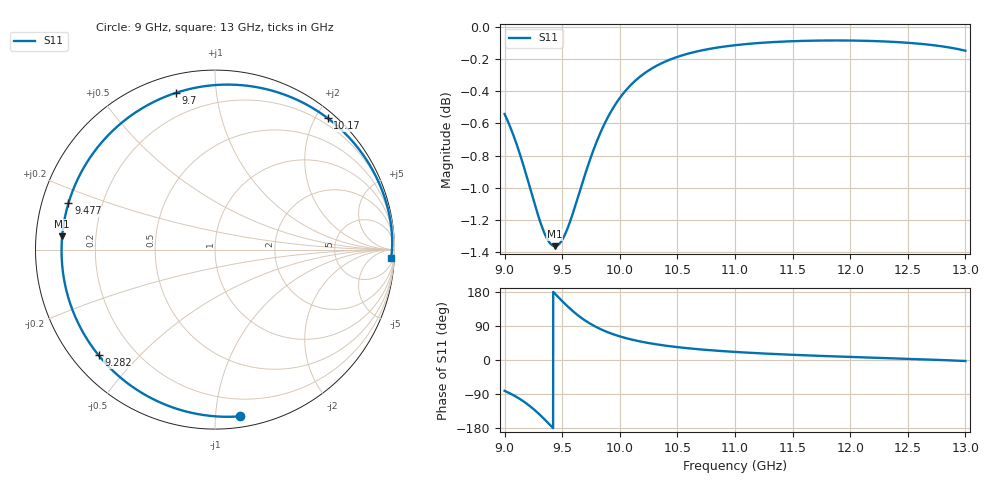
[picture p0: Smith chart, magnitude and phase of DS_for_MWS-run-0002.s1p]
! TOUCHSTONE file generated by CST DESIGN STUDIO
! Date and time: Wed Feb  5 13:34:18 2025
! Project name: C:\Work\MatlabApps\UnitCellOptimizationMatlab\CST\unitcell.cst
! Tree item: Tasks\Sweep1\SPara1\S-Parameters
! Header version: 2024
! Port assignment regex: !\s*Touchstone port\s*([0-9]+)\s*=\s*(CST MWS port|CST DES external port|CST DES block port)\s*(.+)\s* \(\"(.*)\"\)(\s*mode\s*([0-9]+))?.*
! Touchstone port assignment:
! Touchstone port 1 = CST DES external port 1 ("")
# GHz S MA R 50
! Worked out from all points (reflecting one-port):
!   4001 points, 9 GHz to 13 GHz, reference 50 ohm
!   lowest |S11| = -1.4 dB at 9.437 GHz (marker M1), VSWR 12.77, Z = 3.92 + j2.14 ohm
!   phase of S11 starts at -81 deg and turns -281 deg over the sweep
!   S11 on the Smith chart (normalised r, x): 9 GHz: 0.07, -1.16; 9.282 GHz: 0.08, -0.38; 9.477 GHz: 0.08, +0.15; 9.7 GHz: 0.08, +0.78; 10.17 GHz: 0.10, +2.17; 13 GHz: 14, -38
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9  0.9395 -81.4
9.085  0.9235 -94.3
9.156  0.9074 -107.5
9.22  0.8913 -121.8
9.282  0.8759 -137.8
9.325  0.8665 -150.1
9.364  0.86 -161.9
9.401  0.8561 -173.5
9.437  0.8548 175.1
9.477  0.8564 162.4
9.5  0.8587 155.3
9.551  0.8666 140.3
9.599  0.8766 127.3
9.648  0.8879 115.3
9.7  0.9001 104.0
9.767  0.9147 91.6
9.847  0.9296 79.5
9.921  0.9408 70.4
10  0.9503 62.3
10.17  0.9645 49.4
10.32  0.9725 41.2
10.5  0.9786 34.0
10.723  0.9834 27.3
11  0.9868 21.3
11.5  0.9897 13.7
12  0.9901 8.1
12.5  0.9885 3.0
13  0.983 -2.7
